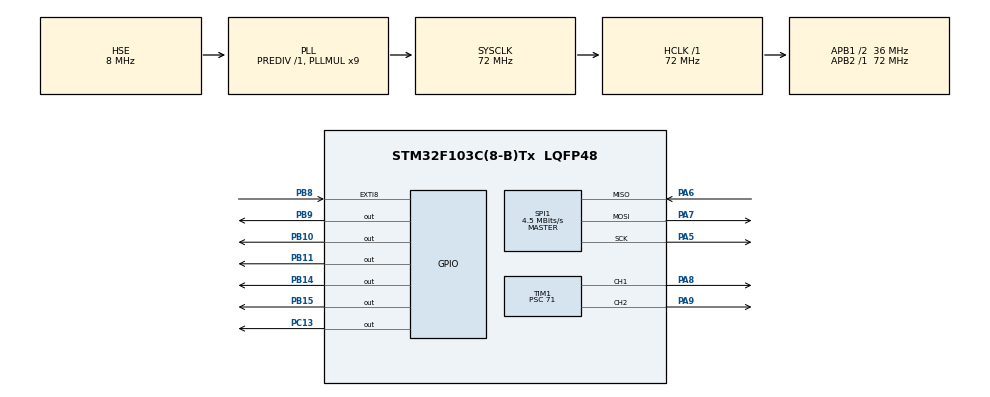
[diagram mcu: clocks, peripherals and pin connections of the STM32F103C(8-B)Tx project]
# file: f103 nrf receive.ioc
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Mcu.Family=STM32F1
Mcu.Name=STM32F103C(8-B)Tx
Mcu.Package=LQFP48
NVIC.EXTI9_5_IRQn=true\:1\:0\:true\:false\:true\:true\:true\:true
NVIC.PriorityGroup=NVIC_PRIORITYGROUP_4
PA13.Mode=Serial_Wire
PA13.Signal=SYS_JTMS-SWDIO
PA14.Mode=Serial_Wire
PA14.Signal=SYS_JTCK-SWCLK
PA5.Mode=Full_Duplex_Master
PA5.Signal=SPI1_SCK
PA6.Mode=Full_Duplex_Master
PA6.Signal=SPI1_MISO
PA7.Mode=Full_Duplex_Master
PA7.Signal=SPI1_MOSI
PA8.Signal=S_TIM1_CH1
PA9.Signal=S_TIM1_CH2
PB10.Signal=GPIO_Output
PB11.Signal=GPIO_Output
PB14.Signal=GPIO_Output
PB15.Signal=GPIO_Output
PB8.GPIO_ModeDefaultEXTI=GPIO_MODE_IT_FALLING
PB8.GPIO_PuPd=GPIO_PULLUP
PB8.Signal=GPXTI8
PB9.Signal=GPIO_Output
PC13-TAMPER-RTC.Signal=GPIO_Output
PD0-OSC_IN.Mode=HSE-External-Oscillator
PD0-OSC_IN.Signal=RCC_OSC_IN
PD1-OSC_OUT.Mode=HSE-External-Oscillator
PD1-OSC_OUT.Signal=RCC_OSC_OUT
ProjectManager.HeapSize=0x200
ProjectManager.StackSize=0x400
ProjectManager.TargetToolchain=MDK-ARM V5.32
RCC.AHBFreq_Value=72000000
RCC.APB1CLKDivider=RCC_HCLK_DIV2
RCC.APB1Freq_Value=36000000
RCC.APB1TimFreq_Value=72000000
RCC.APB2Freq_Value=72000000
RCC.APB2TimFreq_Value=72000000
RCC.HCLKFreq_Value=72000000
RCC.PLLMUL=RCC_PLL_MUL9
RCC.PLLSourceVirtual=RCC_PLLSOURCE_HSE
RCC.SYSCLKFreq_VALUE=72000000
RCC.SYSCLKSource=RCC_SYSCLKSOURCE_PLLCLK
RCC.USBFreq_Value=72000000
SH.S_TIM1_CH1.0=TIM1_CH1,PWM Generation1 CH1
SH.S_TIM1_CH2.0=TIM1_CH2,PWM Generation2 CH2
SPI1.BaudRatePrescaler=SPI_BAUDRATEPRESCALER_16
SPI1.CalculateBaudRate=4.5 MBits/s
SPI1.Direction=SPI_DIRECTION_2LINES
SPI1.Mode=SPI_MODE_MASTER
SPI1.VirtualType=VM_MASTER
TIM1.Channel-PWM\ Generation1\ CH1=TIM_CHANNEL_1
TIM1.Channel-PWM\ Generation2\ CH2=TIM_CHANNEL_2
TIM1.Period=999
TIM1.Prescaler=71
board=custom

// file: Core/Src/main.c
/* USER CODE BEGIN Header */
/**
  ******************************************************************************
  * @file           : main.c
  * @brief          : Main program body
  ******************************************************************************
  * @attention
  *
  * Copyright (c) 2024 STMicroelectronics.
  * All rights reserved.
  *
  * This software is licensed under terms that can be found in the LICENSE file
  * in the root directory of this software component.
  * If no LICENSE file comes with this software, it is provided AS-IS.
  *
  ******************************************************************************
  */
/* USER CODE END Header */
#include "main.h"

/* USER CODE BEGIN Includes */
#include "NRF24L01.h"
#include "Car.h"
#include "Pwm.h"
/* USER CODE END Includes */

SPI_HandleTypeDef hspi1;

TIM_HandleTypeDef htim1;

void SystemClock_Config(void);
static void MX_GPIO_Init(void);
static void MX_SPI1_Init(void);
static void MX_TIM1_Init(void);

/* USER CODE BEGIN 0 */
uint8_t RxAddress[] = {0x00,0xDD,0xCC,0xBB,0xAA};
uint8_t RxData[32];
uint8_t car_speed = 100;
uint8_t rx_flag = 0;

void HAL_GPIO_EXTI_Callback(uint16_t GPIO_Pin)
{
	if (GPIO_Pin == GPIO_PIN_8)
	{
		rx_flag = 1;
	}
}
/* USER CODE END 0 */

int main(void)
{

  /* MCU Configuration--------------------------------------------------------*/

  /* Reset of all peripherals, Initializes the Flash interface and the Systick. */
  HAL_Init();

  /* Configure the system clock */
  SystemClock_Config();

  /* Initialize all configured peripherals */
  MX_GPIO_Init();
  MX_SPI1_Init();
  MX_TIM1_Init();
  /* USER CODE BEGIN 2 */
  NRF24_Init();
	car_init(&htim1);
  NRF24_RxMode(RxAddress, 10);

  /* USER CODE END 2 */

  /* Infinite loop */
  while (1)
  {

    /* USER CODE BEGIN 3 */
		if (rx_flag)
			if (isDataAvailable(2))
			{
				NRF24_Receive(RxData);
				rx_flag = 0;
			}
		if (RxData[0])
		{
			HAL_GPIO_WritePin(GPIOB, GPIO_PIN_9, GPIO_PIN_SET);
		}
		else
		{
			HAL_GPIO_WritePin(GPIOB, GPIO_PIN_9, GPIO_PIN_RESET);
		}
		//Dieu khien xe
		switch(RxData[1])
		{
		  case 'S':
			  car_control(CAR_STOP_STATE, 0);
			  break;
		  case 'B':
			  car_control(CAR_BACKWARD_STATE, car_speed);
			  break;
		  case 'L':
			  car_control(CAR_LEFT_STATE, car_speed);
			  break;
		  case 'R':
			  car_control(CAR_RIGHT_STATE, car_speed);
			  break;
			case 'F':
			  car_control(CAR_FORWARD_STATE, car_speed);
			  break;
			default:
				break;
		}
  }
  /* USER CODE END 3 */
}

void SystemClock_Config(void)
{
  RCC_OscInitTypeDef RCC_OscInitStruct = {0};
  RCC_ClkInitTypeDef RCC_ClkInitStruct = {0};

  /** Initializes the RCC Oscillators according to the specified parameters
  * in the RCC_OscInitTypeDef structure.
  */
  RCC_OscInitStruct.OscillatorType = RCC_OSCILLATORTYPE_HSE;
  RCC_OscInitStruct.HSEState = RCC_HSE_ON;
  RCC_OscInitStruct.HSEPredivValue = RCC_HSE_PREDIV_DIV1;
  RCC_OscInitStruct.HSIState = RCC_HSI_ON;
  RCC_OscInitStruct.PLL.PLLState = RCC_PLL_ON;
  RCC_OscInitStruct.PLL.PLLSource = RCC_PLLSOURCE_HSE;
  RCC_OscInitStruct.PLL.PLLMUL = RCC_PLL_MUL9;
  if (HAL_RCC_OscConfig(&RCC_OscInitStruct) != HAL_OK)
  {
    Error_Handler();
  }

  /** Initializes the CPU, AHB and APB buses clocks
  */
  RCC_ClkInitStruct.ClockType = RCC_CLOCKTYPE_HCLK|RCC_CLOCKTYPE_SYSCLK
                              |RCC_CLOCKTYPE_PCLK1|RCC_CLOCKTYPE_PCLK2;
  RCC_ClkInitStruct.SYSCLKSource = RCC_SYSCLKSOURCE_PLLCLK;
  RCC_ClkInitStruct.AHBCLKDivider = RCC_SYSCLK_DIV1;
  RCC_ClkInitStruct.APB1CLKDivider = RCC_HCLK_DIV2;
  RCC_ClkInitStruct.APB2CLKDivider = RCC_HCLK_DIV1;

  if (HAL_RCC_ClockConfig(&RCC_ClkInitStruct, FLASH_LATENCY_2) != HAL_OK)
  {
    Error_Handler();
  }
}

static void MX_SPI1_Init(void)
{

  /* SPI1 parameter configuration*/
  hspi1.Instance = SPI1;
  hspi1.Init.Mode = SPI_MODE_MASTER;
  hspi1.Init.Direction = SPI_DIRECTION_2LINES;
  hspi1.Init.DataSize = SPI_DATASIZE_8BIT;
  hspi1.Init.CLKPolarity = SPI_POLARITY_LOW;
  hspi1.Init.CLKPhase = SPI_PHASE_1EDGE;
  hspi1.Init.NSS = SPI_NSS_SOFT;
  hspi1.Init.BaudRatePrescaler = SPI_BAUDRATEPRESCALER_16;
  hspi1.Init.FirstBit = SPI_FIRSTBIT_MSB;
  hspi1.Init.TIMode = SPI_TIMODE_DISABLE;
  hspi1.Init.CRCCalculation = SPI_CRCCALCULATION_DISABLE;
  hspi1.Init.CRCPolynomial = 10;
  if (HAL_SPI_Init(&hspi1) != HAL_OK)
  {
    Error_Handler();
  }

}

static void MX_TIM1_Init(void)
{

  TIM_MasterConfigTypeDef sMasterConfig = {0};
  TIM_OC_InitTypeDef sConfigOC = {0};
  TIM_BreakDeadTimeConfigTypeDef sBreakDeadTimeConfig = {0};

  htim1.Instance = TIM1;
  htim1.Init.Prescaler = 71;
  htim1.Init.CounterMode = TIM_COUNTERMODE_UP;
  htim1.Init.Period = 999;
  htim1.Init.ClockDivision = TIM_CLOCKDIVISION_DIV1;
  htim1.Init.RepetitionCounter = 0;
  htim1.Init.AutoReloadPreload = TIM_AUTORELOAD_PRELOAD_DISABLE;
  if (HAL_TIM_PWM_Init(&htim1) != HAL_OK)
  {
    Error_Handler();
  }
  sMasterConfig.MasterOutputTrigger = TIM_TRGO_RESET;
  sMasterConfig.MasterSlaveMode = TIM_MASTERSLAVEMODE_DISABLE;
  if (HAL_TIMEx_MasterConfigSynchronization(&htim1, &sMasterConfig) != HAL_OK)
  {
    Error_Handler();
  }
  sConfigOC.OCMode = TIM_OCMODE_PWM1;
  sConfigOC.Pulse = 0;
  sConfigOC.OCPolarity = TIM_OCPOLARITY_HIGH;
  sConfigOC.OCNPolarity = TIM_OCNPOLARITY_HIGH;
  sConfigOC.OCFastMode = TIM_OCFAST_DISABLE;
  sConfigOC.OCIdleState = TIM_OCIDLESTATE_RESET;
  sConfigOC.OCNIdleState = TIM_OCNIDLESTATE_RESET;
  if (HAL_TIM_PWM_ConfigChannel(&htim1, &sConfigOC, TIM_CHANNEL_1) != HAL_OK)
  {
    Error_Handler();
  }
  if (HAL_TIM_PWM_ConfigChannel(&htim1, &sConfigOC, TIM_CHANNEL_2) != HAL_OK)
  {
    Error_Handler();
  }
  sBreakDeadTimeConfig.OffStateRunMode = TIM_OSSR_DISABLE;
  sBreakDeadTimeConfig.OffStateIDLEMode = TIM_OSSI_DISABLE;
  sBreakDeadTimeConfig.LockLevel = TIM_LOCKLEVEL_OFF;
  sBreakDeadTimeConfig.DeadTime = 0;
  sBreakDeadTimeConfig.BreakState = TIM_BREAK_DISABLE;
  sBreakDeadTimeConfig.BreakPolarity = TIM_BREAKPOLARITY_HIGH;
  sBreakDeadTimeConfig.AutomaticOutput = TIM_AUTOMATICOUTPUT_DISABLE;
  if (HAL_TIMEx_ConfigBreakDeadTime(&htim1, &sBreakDeadTimeConfig) != HAL_OK)
  {
    Error_Handler();
  }
  HAL_TIM_MspPostInit(&htim1);

}

static void MX_GPIO_Init(void)
{
  GPIO_InitTypeDef GPIO_InitStruct = {0};

  /* GPIO Ports Clock Enable */
  __HAL_RCC_GPIOC_CLK_ENABLE();
  __HAL_RCC_GPIOD_CLK_ENABLE();
  __HAL_RCC_GPIOA_CLK_ENABLE();
  __HAL_RCC_GPIOB_CLK_ENABLE();

  /*Configure GPIO pin Output Level */
  HAL_GPIO_WritePin(GPIOC, GPIO_PIN_13, GPIO_PIN_RESET);

  /*Configure GPIO pin Output Level */
  HAL_GPIO_WritePin(GPIOB, GPIO_PIN_10|GPIO_PIN_11|GPIO_PIN_14|GPIO_PIN_15
                          |GPIO_PIN_9, GPIO_PIN_RESET);

  /*Configure GPIO pin : PC13 */
  GPIO_InitStruct.Pin = GPIO_PIN_13;
  GPIO_InitStruct.Mode = GPIO_MODE_OUTPUT_PP;
  GPIO_InitStruct.Pull = GPIO_NOPULL;
  GPIO_InitStruct.Speed = GPIO_SPEED_FREQ_LOW;
  HAL_GPIO_Init(GPIOC, &GPIO_InitStruct);

  /*Configure GPIO pins : PB10 PB11 PB14 PB15
                           PB9 */
  GPIO_InitStruct.Pin = GPIO_PIN_10|GPIO_PIN_11|GPIO_PIN_14|GPIO_PIN_15
                          |GPIO_PIN_9;
  GPIO_InitStruct.Mode = GPIO_MODE_OUTPUT_PP;
  GPIO_InitStruct.Pull = GPIO_NOPULL;
  GPIO_InitStruct.Speed = GPIO_SPEED_FREQ_LOW;
  HAL_GPIO_Init(GPIOB, &GPIO_InitStruct);

  /*Configure GPIO pin : PB8 */
  GPIO_InitStruct.Pin = GPIO_PIN_8;
  GPIO_InitStruct.Mode = GPIO_MODE_IT_FALLING;
  GPIO_InitStruct.Pull = GPIO_PULLUP;
  HAL_GPIO_Init(GPIOB, &GPIO_InitStruct);

  /* EXTI interrupt init*/
  HAL_NVIC_SetPriority(EXTI9_5_IRQn, 1, 0);
  HAL_NVIC_EnableIRQ(EXTI9_5_IRQn);

}

void Error_Handler(void)
{
  __disable_irq();
  while (1)
  {
  }
}
